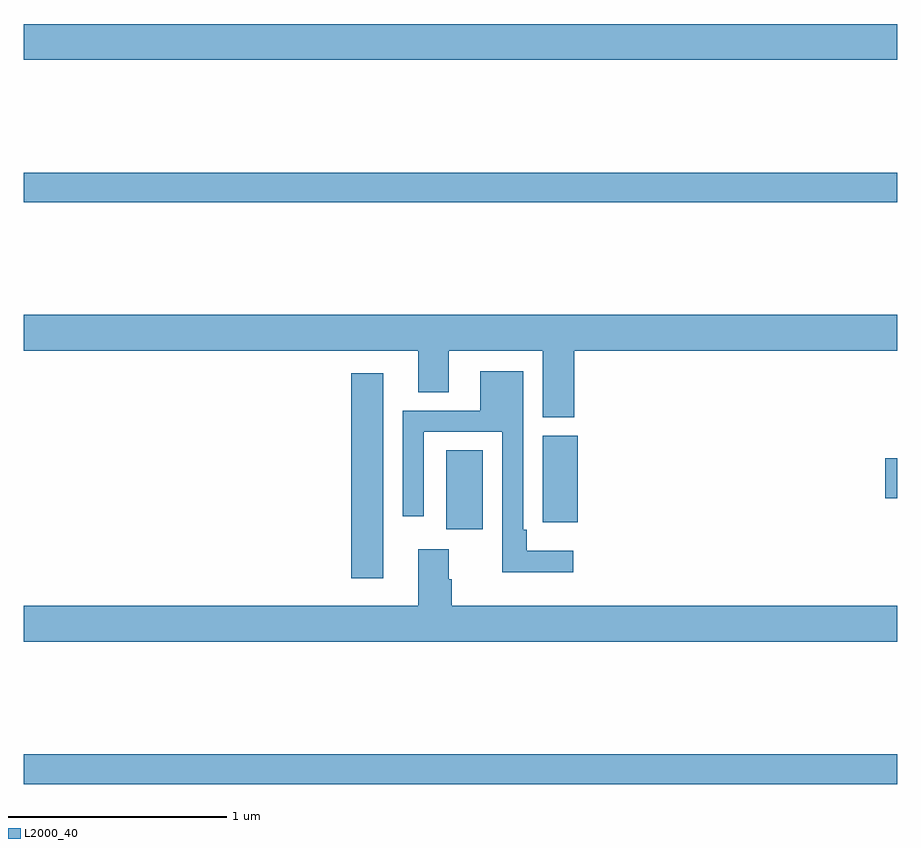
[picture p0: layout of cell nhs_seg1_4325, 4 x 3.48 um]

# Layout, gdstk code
import gdstk
lib = gdstk.Library(unit=1e-6, precision=1e-09)
def R(c, l, rs):  # rectangles x0, y0, x1, y1
    for r in rs: c.add(gdstk.rectangle(r[:2], r[2:], *l))
def P(c, l, *ps):  # polygons
    for p in ps: c.add(gdstk.Polygon(p, *l))
L2000_40 = (2000, 40)

nhs_seg1_4325 = lib.new_cell('nhs_seg1_4325')
R(nhs_seg1_4325, L2000_40, [(347,504.46,351,504.596), (348.5,505.401,348.646,506.341), (348.935,505.626,349.102,505.988), (350.946,505.769,351,505.952), (347,507.124,351,507.26), (347,507.776,351,507.94)])
P(nhs_seg1_4325, L2000_40, [(349.52,506.444),(351,506.444),(351,506.608),(347,506.608),(347,506.444),(348.806,506.444),(348.806,506.254),(348.946,506.254),(348.946,506.444),(349.376,506.444),(349.376,506.14),(349.52,506.14)],
  [(349.516,505.528),(349.303,505.528),(349.303,505.624),(349.287,505.624),(349.287,506.35),(349.091,506.35),(349.091,506.169),(348.735,506.169),(348.735,505.686),(348.831,505.686),(348.831,506.073),(349.191,506.073),(349.191,505.43),(349.516,505.43)],
  [(349.538,506.055),(349.376,506.055),(349.376,505.771),(349.377,505.771),(349.377,505.659),(349.538,505.659)],
  [(351,505.276),(348.959,505.276),(348.959,505.397),(348.946,505.397),(348.946,505.534),(348.806,505.534),(348.806,505.276),(347,505.276),(347,505.112),(351,505.112)])

lib.write_gds('nhs_seg1_4325.gds')
